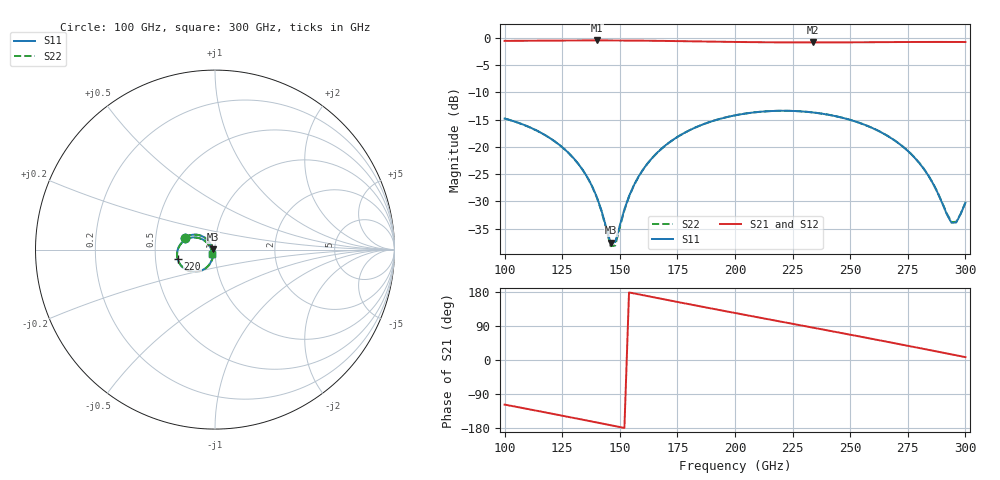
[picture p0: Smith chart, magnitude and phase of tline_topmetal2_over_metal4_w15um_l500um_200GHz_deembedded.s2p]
! Created with skrf 2.2.0 (http://scikit-rf.org).
# GHz S DB R 50.0
! Port[1] = P1
! Port[2] = P2
!freq dBS11 angS11 dBS21 angS21 dBS12 angS12 dBS22 angS22
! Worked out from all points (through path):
!   101 points, 100 GHz to 300 GHz, reference 50 ohm
!   highest |S21| = -0.46 dB at 140 GHz (marker M1); lowest = -0.8 dB at 234 GHz (marker M2)
!   group delay of S21, straight-line fit = 3.25 ps
!   lowest |S11| = -37.6 dB at 146 GHz (marker M3), VSWR 1.03, Z = 48.7 + j0.192 ohm
!   |S11| at or under -10 dB: start of sweep to end of sweep
!   |S22| runs from -38.2 to -13.4 dB; largest |S21 - S12| = 1.6e-13
!   S11 on the Smith chart (normalised r, x): 100 GHz: 0.70, +0.10; 220 GHz: 0.65, -0.07; 300 GHz: 0.97, -0.05
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100  -14.80 158.9  -0.53 -117.7  -0.53 -117.7  -14.80 158.8
120  -18.48 137.7  -0.48 -141.0  -0.48 -141.0  -18.48 137.5
128  -21.22 130.5  -0.47 -150.5  -0.47 -150.5  -21.22 130.1
134  -24.28 127.0  -0.46 -157.7  -0.46 -157.7  -24.30 126.3
140  -29.19 129.1  -0.46 -164.9  -0.46 -164.9  -29.26 127.7
146  -37.60 171.4  -0.46 -172.1  -0.46 -172.1  -38.23 169.8
148  -37.47 -149.6  -0.46 -174.5  -0.46 -174.5  -38.12 -147.9
152  -31.46 -113.8  -0.47 -179.3  -0.47 -179.3  -31.62 -111.7
156  -27.13 -107.3  -0.48 175.9  -0.48 175.9  -27.20 -105.8
162  -23.05 -108.1  -0.51 168.7  -0.51 168.7  -23.08 -107.0
168  -20.37 -112.4  -0.54 161.6  -0.54 161.6  -20.39 -111.5
182  -16.59 -125.9  -0.62 145.0  -0.62 145.0  -16.59 -125.2
200  -14.21 -144.8  -0.73 124.1  -0.73 124.1  -14.21 -144.2
220  -13.37 -165.9  -0.81 101.2  -0.81 101.2  -13.37 -165.4
234  -13.69 179.4  -0.82 85.2  -0.82 85.2  -13.68 179.9
250  -15.04 162.9  -0.80 66.8  -0.80 66.8  -15.04 163.5
268  -18.45 146.0  -0.76 45.8  -0.76 45.8  -18.44 146.6
282  -24.07 138.9  -0.73 29.2  -0.73 29.2  -24.03 139.6
286  -26.78 141.4  -0.73 24.4  -0.73 24.4  -26.73 142.1
294  -33.95 -175.6  -0.73 14.8  -0.73 14.8  -33.80 -175.4
296  -33.88 -151.1  -0.73 12.4  -0.73 12.4  -33.76 -151.2
300  -30.25 -119.6  -0.74 7.6  -0.74 7.6  -30.22 -119.8
